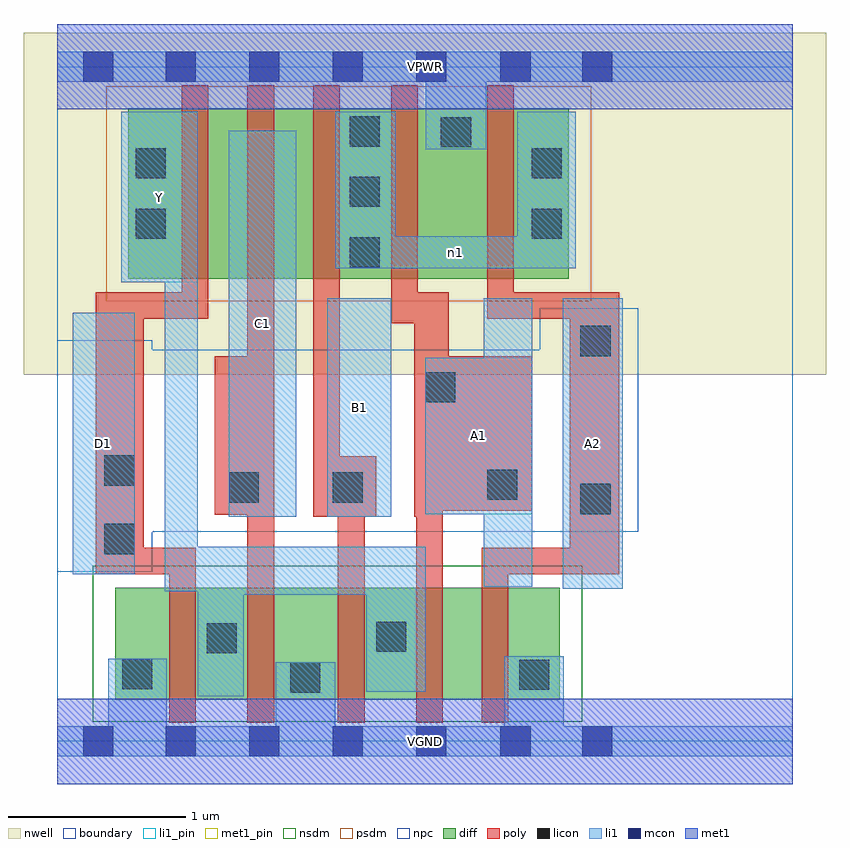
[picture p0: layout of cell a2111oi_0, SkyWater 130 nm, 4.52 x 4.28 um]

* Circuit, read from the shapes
.subckt a2111oi_0 A1 A2 B1 C1 D1 VGND VPWR Y n1
XM1 Y D1 VGND VSUBS sky130_fd_pr__nfet_01v8 w=0.63 l=0.15
XM2 VGND C1 Y VSUBS sky130_fd_pr__nfet_01v8 w=0.63 l=0.15
XM3 Y B1 VGND VSUBS sky130_fd_pr__nfet_01v8 w=0.63 l=0.15
XM4 n2 A1 Y VSUBS sky130_fd_pr__nfet_01v8 w=0.63 l=0.15
XM5 VGND A2 n2 VSUBS sky130_fd_pr__nfet_01v8 w=0.63 l=0.15
XM6 n3 D1 Y n4 sky130_fd_pr__pfet_01v8 w=0.96 l=0.15
XM7 n5 C1 n3 n4 sky130_fd_pr__pfet_01v8 w=0.96 l=0.15
XM8 n1 B1 n5 n4 sky130_fd_pr__pfet_01v8 w=0.96 l=0.15
XM9 VPWR A1 n1 n4 sky130_fd_pr__pfet_01v8 w=0.96 l=0.15
XM10 n1 A2 VPWR n4 sky130_fd_pr__pfet_01v8 w=0.96 l=0.15
.ends

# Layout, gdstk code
import gdstk
lib = gdstk.Library(unit=1e-6, precision=1e-09)
def R(c, l, rs):  # rectangles x0, y0, x1, y1
    for r in rs: c.add(gdstk.rectangle(r[:2], r[2:], *l))
def A(c, l, x, y, w, h, nx, ny, dx, dy):  # array of equal rectangles
    R(c, l, [(x+i*dx, y+j*dy, x+i*dx+w, y+j*dy+h) for i in range(nx) for j in range(ny)])
nwell = (64, 20)
diff = (65, 20)
poly = (66, 20)
licon = (66, 44)
li1_pin = (67, 16)
li1 = (67, 20)
mcon = (67, 44)
met1_pin = (68, 16)
met1 = (68, 20)
nsdm = (93, 44)
psdm = (94, 20)
npc = (95, 20)
boundary = (235, 4)

a2111oi_0 = lib.new_cell('a2111oi_0')
R(a2111oi_0, nwell, [(-0.19,2.065,4.33,3.99), (0,2.065,4.14,3.99)])
R(a2111oi_0, diff, [(0.325,0.235,2.83,0.865), (0.4,2.605,2.88,3.565)])
R(a2111oi_0, poly, [(0.63,0.105,0.78,1.09), (1.07,0.105,1.22,3.695), (1.58,0.105,1.73,1.605), (2.02,0.105,2.17,2.53), (2.39,0.105,2.54,1.09), (0.215,0.94,0.485,2.53), (0.215,0.94,0.78,1.09), (2.39,0.94,3.165,1.09), (2.885,0.94,3.165,2.53), (1.44,1.265,1.59,3.695), (1.44,1.265,1.795,1.605), (2.01,1.265,2.17,2.53), (0.885,1.275,1.22,2.17), (2.01,1.3,2.675,2.17), (2.01,1.3,2.205,2.53), (1.88,2.355,2.03,3.695), (0.215,2.38,0.85,2.53), (0.7,2.38,0.85,3.695), (2.42,2.38,2.57,3.695), (2.42,2.38,3.165,2.53)])
A(a2111oi_0, licon, 1.645, 2.67, 0.17, 0.17, 1, 3, 0, 0.34)
R(a2111oi_0, licon, [(1.31,0.275,1.48,0.445), (2.6,0.29,2.77,0.46), (0.365,0.295,0.535,0.465), (0.84,0.495,1.01,0.665), (1.795,0.505,1.965,0.675), (0.265,1.055,0.435,1.225), (2.945,1.28,3.115,1.45), (0.965,1.345,1.135,1.515), (1.55,1.345,1.72,1.515), (2.42,1.36,2.59,1.53), (0.265,1.44,0.435,1.61), (2.07,1.91,2.24,2.08), (2.945,2.17,3.115,2.34), (0.44,2.83,0.61,3), (2.67,2.83,2.84,3), (0.44,3.17,0.61,3.34), (2.67,3.17,2.84,3.34), (2.16,3.345,2.33,3.515)])
R(a2111oi_0, li1_pin, [(2.845,0.86,3.185,2.495), (0.085,0.94,0.435,2.415), (0.965,1.265,1.345,3.44), (1.52,1.265,1.88,2.495), (2.07,1.28,2.675,2.16), (0.36,2.585,0.79,3.545)])
R(a2111oi_0, li1, [(0,-0.085,4.14,0.085), (0.285,-0.085,0.615,0.465), (1.23,-0.085,1.565,0.445), (2.515,-0.085,2.85,0.48), (0.79,0.255,1.05,1.095), (1.74,0.28,2.075,1.095), (0.79,0.825,2.075,1.095), (0.605,0.845,0.79,3.545), (2.845,0.86,3.185,2.495), (2.4,0.87,2.675,2.495), (0.085,0.94,0.435,2.415), (0.965,1.265,1.345,3.44), (1.52,1.265,1.88,2.495), (2.07,1.28,2.675,2.16), (0.36,2.585,0.79,3.545), (1.565,2.665,2.92,2.845), (1.565,2.665,1.905,3.545), (2.59,2.665,2.92,3.545), (2.075,3.335,2.415,3.885), (0,3.715,4.14,3.885)])
A(a2111oi_0, mcon, 0.61, -0.085, 0.17, 0.17, 4, 2, 0.47, 3.8)
R(a2111oi_0, mcon, [(0.145,-0.085,0.315,0.085), (2.495,-0.085,2.665,0.085), (2.955,-0.085,3.125,0.085), (0.145,3.715,0.315,3.885), (2.495,3.715,2.665,3.885), (2.955,3.715,3.125,3.885)])
R(a2111oi_0, met1_pin, [(0,-0.24,4.14,0.24), (0,3.56,4.14,4.04)])
R(a2111oi_0, met1, [(0,-0.24,4.14,0.24), (0,3.56,4.14,4.04)])
R(a2111oi_0, nsdm, [(0.2,0.11,2.955,0.99)])
R(a2111oi_0, psdm, [(0.275,2.48,3.005,3.69)])
R(a2111oi_0, npc, [(0,0.955,0.535,2.26), (0,1.18,3.27,2.205), (2.715,1.18,3.27,2.44)])
R(a2111oi_0, boundary, [(0,0,4.14,3.8)])
a2111oi_0.add(gdstk.Label('A1', (2.372,1.72), layer=67, texttype=5))
a2111oi_0.add(gdstk.Label('A2', (3.015,1.677), layer=67, texttype=5))
a2111oi_0.add(gdstk.Label('B1', (1.7,1.88), layer=67, texttype=5))
a2111oi_0.add(gdstk.Label('C1', (1.155,2.352), layer=67, texttype=5))
a2111oi_0.add(gdstk.Label('D1', (0.26,1.677), layer=67, texttype=5))
a2111oi_0.add(gdstk.Label('Y', (0.575,3.065), layer=67, texttype=5))
a2111oi_0.add(gdstk.Label('n1', (2.242,2.755), layer=67, texttype=5))
a2111oi_0.add(gdstk.Label('VPWR', (2.07,3.8), layer=68, texttype=5))
a2111oi_0.add(gdstk.Label('VGND', (2.07,0), layer=68, texttype=5))
a2111oi_0.add(gdstk.Label('A1', (2.372,1.72), layer=67, texttype=16))
a2111oi_0.add(gdstk.Label('A2', (3.015,1.677), layer=67, texttype=16))
a2111oi_0.add(gdstk.Label('B1', (1.7,1.88), layer=67, texttype=16))
a2111oi_0.add(gdstk.Label('C1', (1.155,2.352), layer=67, texttype=16))
a2111oi_0.add(gdstk.Label('D1', (0.26,1.677), layer=67, texttype=16))
a2111oi_0.add(gdstk.Label('Y', (0.575,3.065), layer=67, texttype=16))
a2111oi_0.add(gdstk.Label('VPWR', (2.07,3.8), layer=68, texttype=16))
a2111oi_0.add(gdstk.Label('VGND', (2.07,0), layer=68, texttype=16))

lib.write_gds('a2111oi_0.gds')
